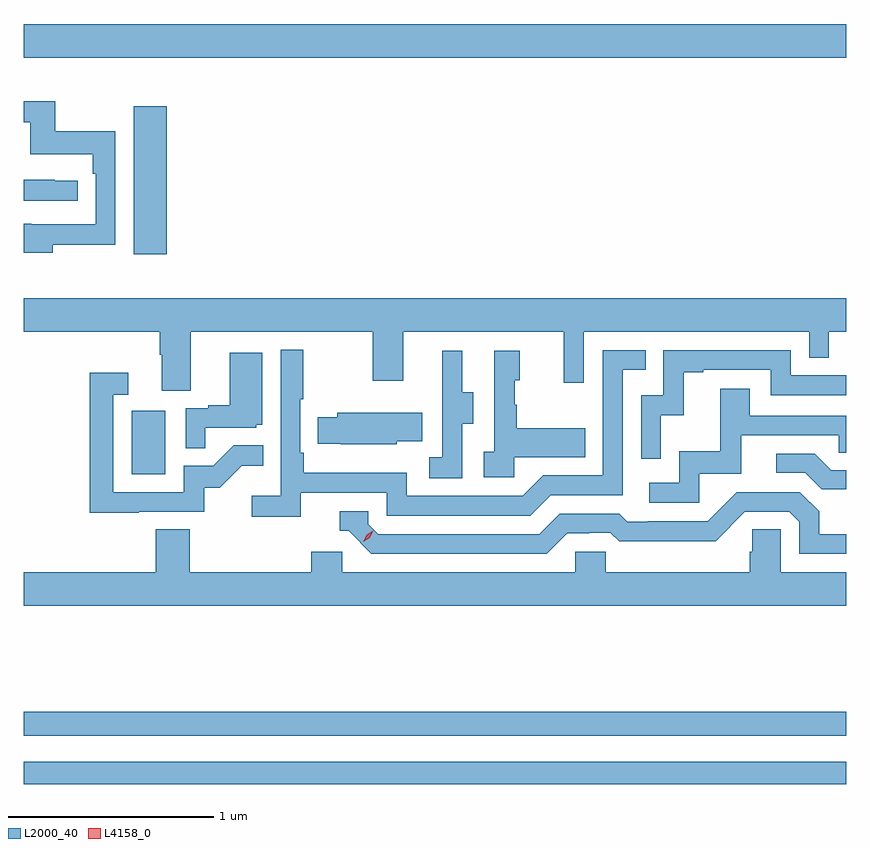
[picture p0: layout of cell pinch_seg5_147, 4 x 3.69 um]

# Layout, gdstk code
import gdstk
lib = gdstk.Library(unit=1e-6, precision=1e-09)
def R(c, l, rs):  # rectangles x0, y0, x1, y1
    for r in rs: c.add(gdstk.rectangle(r[:2], r[2:], *l))
def P(c, l, *ps):  # polygons
    for p in ps: c.add(gdstk.Polygon(p, *l))
L2000_40 = (2000, 40)
L4158_0 = (4158, 0)

pinch_seg5_147 = lib.new_cell('pinch_seg5_147')
R(pinch_seg5_147, L2000_40, [(1077.658,878.538,1081.658,878.646), (1077.658,878.772,1081.658,878.888), (1078.184,880.044,1078.348,880.351), (1078.193,881.112,1078.354,881.833), (1077.658,882.068,1081.658,882.232)])
P(pinch_seg5_147, L2000_40, [(1077.799,881.158),(1078.104,881.158),(1078.104,881.71),(1077.811,881.71),(1077.811,881.856),(1077.658,881.856),(1077.658,881.755),(1077.69,881.755),(1077.69,881.6),(1077.995,881.6),(1077.995,881.504),(1078.008,881.504),(1078.008,881.259),(1077.695,881.259),(1077.695,881.26),(1077.658,881.26),(1077.658,881.12),(1077.799,881.12)],
  [(1077.922,881.469),(1077.809,881.469),(1077.809,881.474),(1077.658,881.474),(1077.658,881.373),(1077.922,881.373)],
  [(1078.471,880.736),(1079.356,880.736),(1079.356,880.497),(1079.503,880.497),(1079.503,880.736),(1080.284,880.736),(1080.284,880.488),(1080.381,880.488),(1080.381,880.736),(1081.476,880.736),(1081.476,880.609),(1081.572,880.609),(1081.572,880.736),(1081.658,880.736),(1081.658,880.9),(1077.658,880.9),(1077.658,880.736),(1078.319,880.736),(1078.319,880.624),(1078.331,880.624),(1078.331,880.45),(1078.471,880.45)],
  [(1079.006,879.954),(1079.424,879.954),(1079.424,879.843),(1080.121,879.843),(1080.22,879.942),(1080.57,879.942),(1080.57,880.551),(1080.683,880.551),(1080.683,880.647),(1080.474,880.647),(1080.474,880.038),(1080.183,880.038),(1080.084,879.939),(1079.52,879.939),(1079.52,880.051),(1079.021,880.051),(1079.021,880.147),(1079.004,880.147),(1079.004,880.408),(1079.017,880.408),(1079.017,880.648),(1078.908,880.648),(1078.908,879.94),(1078.767,879.94),(1078.767,879.838),(1079.006,879.838)],
  [(1080.756,880.331),(1080.866,880.331),(1080.866,880.539),(1080.961,880.539),(1080.961,880.551),(1081.29,880.551),(1081.29,880.428),(1081.658,880.428),(1081.658,880.524),(1081.386,880.524),(1081.386,880.647),(1080.768,880.647),(1080.768,880.428),(1080.66,880.428),(1080.66,880.119),(1080.756,880.119)],
  [(1079.79,880.288),(1079.845,880.288),(1079.845,880.443),(1079.791,880.443),(1079.791,880.645),(1079.693,880.645),(1079.693,880.431),(1079.694,880.431),(1079.694,880.127),(1079.631,880.127),(1079.631,880.024),(1079.79,880.024)],
  [(1080.042,880.127),(1080.389,880.127),(1080.389,880.267),(1080.055,880.267),(1080.055,880.382),(1080.045,880.382),(1080.045,880.5),(1080.07,880.5),(1080.07,880.645),(1079.946,880.645),(1079.946,880.154),(1079.895,880.154),(1079.895,880.029),(1080.042,880.029)],
  [(1078.541,880.269),(1078.788,880.269),(1078.788,880.284),(1078.819,880.284),(1078.819,880.633),(1078.661,880.633),(1078.661,880.378),(1078.557,880.378),(1078.557,880.365),(1078.446,880.365),(1078.446,880.171),(1078.541,880.171)],
  [(1078.217,879.861),(1078.536,879.861),(1078.536,879.978),(1078.612,879.978),(1078.719,880.085),(1078.823,880.085),(1078.823,880.184),(1078.679,880.184),(1078.581,880.086),(1078.437,880.086),(1078.437,879.957),(1078.095,879.957),(1078.095,880.431),(1078.168,880.431),(1078.168,880.537),(1077.979,880.537),(1077.979,879.856),(1078.217,879.856)],
  [(1080.942,880.047),(1081.147,880.047),(1081.147,880.233),(1081.621,880.233),(1081.621,880.149),(1081.658,880.149),(1081.658,880.329),(1081.189,880.329),(1081.189,880.459),(1081.045,880.459),(1081.045,880.156),(1080.846,880.156),(1080.846,880.002),(1080.699,880.002),(1080.699,879.906),(1080.942,879.906)],
  [(1079.472,880.205),(1079.597,880.205),(1079.597,880.342),(1079.183,880.342),(1079.183,880.32),(1079.089,880.32),(1079.089,880.191),(1079.2,880.191),(1079.2,880.19),(1079.472,880.19)],
  [(1081.658,880.062),(1081.585,880.062),(1081.504,880.143),(1081.317,880.143),(1081.317,880.05),(1081.458,880.05),(1081.538,879.97),(1081.658,879.97)],
  [(1080.301,879.756),(1080.408,879.756),(1080.408,879.759),(1080.511,879.759),(1080.553,879.717),(1080.786,879.717),(1080.786,879.719),(1081.022,879.719),(1081.164,879.861),(1081.38,879.861),(1081.428,879.813),(1081.428,879.657),(1081.658,879.657),(1081.658,879.753),(1081.525,879.753),(1081.525,879.863),(1081.431,879.957),(1081.125,879.957),(1080.984,879.816),(1080.691,879.816),(1080.691,879.813),(1080.592,879.813),(1080.553,879.852),(1080.264,879.852),(1080.165,879.753),(1079.382,879.753),(1079.334,879.801),(1079.334,879.864),(1079.195,879.864),(1079.195,879.768),(1079.238,879.768),(1079.349,879.657),(1080.202,879.657)],
  [(1081.658,879.568),(1081.338,879.568),(1081.338,879.776),(1081.201,879.776),(1081.201,879.666),(1081.187,879.666),(1081.187,879.568),(1080.489,879.568),(1080.489,879.666),(1080.339,879.666),(1080.339,879.568),(1079.208,879.568),(1079.208,879.666),(1079.057,879.666),(1079.057,879.568),(1078.466,879.568),(1078.466,879.776),(1078.301,879.776),(1078.301,879.568),(1077.658,879.568),(1077.658,879.404),(1081.658,879.404)])
P(pinch_seg5_147, L4158_0, [(1079.31,879.716),(1079.31,879.716),(1079.326,879.749),(1079.357,879.768),(1079.357,879.768),(1079.357,879.768),(1079.341,879.735),(1079.31,879.716)])

lib.write_gds('pinch_seg5_147.gds')
